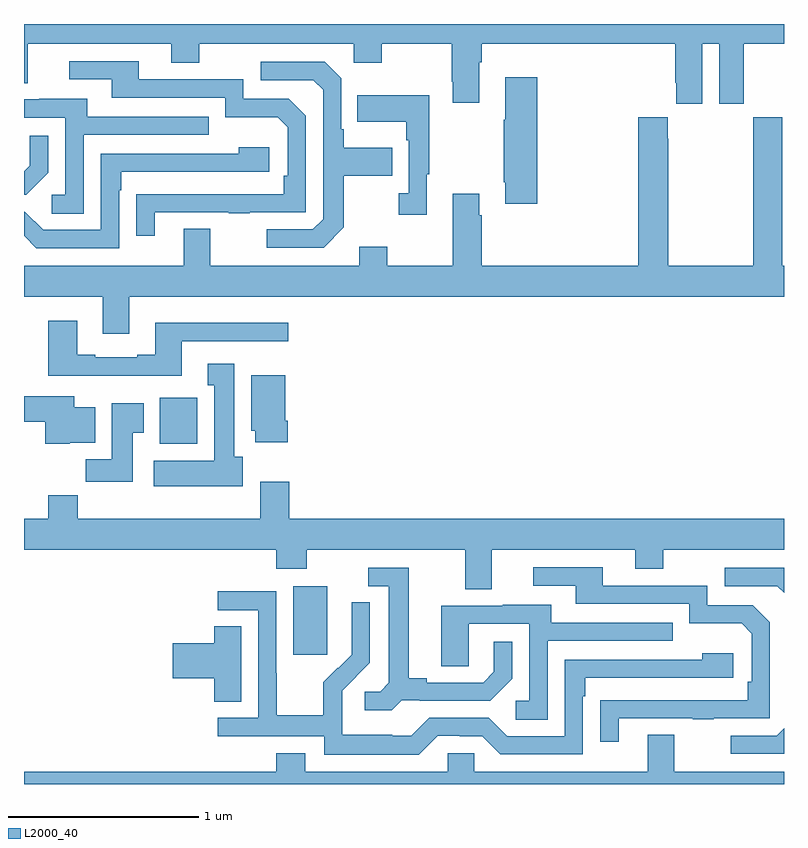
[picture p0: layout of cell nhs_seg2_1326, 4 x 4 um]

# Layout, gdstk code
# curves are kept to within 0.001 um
import gdstk
lib = gdstk.Library(unit=1e-6, precision=1e-09)
def R(c, l, rs):  # rectangles x0, y0, x1, y1
    for r in rs: c.add(gdstk.rectangle(r[:2], r[2:], *l))
def P(c, l, *ps):  # polygons
    for p in ps: c.add(gdstk.Polygon(p, *l))
L2000_40 = (2000, 40)

nhs_seg2_1326 = lib.new_cell('nhs_seg2_1326')
R(nhs_seg2_1326, L2000_40, [(182.417,584.481,182.596,584.842), (181.715,585.59,181.912,585.832)])
P(nhs_seg2_1326, L2000_40, [(184.57,587.696),(184.658,587.696),(184.658,587.379),(184.789,587.379),(184.789,587.696),(185,587.696),(185,587.8),(181,587.8),(181,587.488),(181.021,587.488),(181.021,587.696),(181.775,587.696),(181.775,587.597),(181.923,587.597),(181.923,587.696),(182.736,587.696),(182.736,587.597),(182.883,587.597),(182.883,587.696),(183.25,587.696),(183.25,587.497),(183.257,587.497),(183.257,587.385),(183.397,587.385),(183.397,587.6),(183.41,587.6),(183.41,587.696),(184.427,587.696),(184.427,587.491),(184.433,587.491),(184.433,587.379),(184.57,587.379)],
  [(181.687,586.809),(182.077,586.809),(182.077,586.804),(182.189,586.804),(182.189,586.809),(182.484,586.809),(182.484,587.316),(182.394,587.406),(182.154,587.406),(182.154,587.508),(181.603,587.508),(181.603,587.604),(181.239,587.604),(181.239,587.508),(181.463,587.508),(181.463,587.412),(182.058,587.412),(182.058,587.309),(182.335,587.309),(182.388,587.256),(182.388,587.002),(182.368,587.002),(182.368,586.905),(181.591,586.904),(181.591,586.686),(181.687,586.686)],
  [(182.683,586.729),(182.683,587.002),(182.939,587.002),(182.939,587.149),(182.683,587.149),(182.683,587.245),(182.67,587.245),(182.67,587.514),(182.583,587.601),(182.247,587.601),(182.247,587.505),(182.523,587.505),(182.574,587.454),(182.574,586.773),(182.52,586.719),(182.277,586.719),(182.277,586.623),(182.577,586.623)],
  [(183.701,587.521),(183.533,587.521),(183.533,587.297),(183.526,587.297),(183.526,586.966),(183.533,586.966),(183.533,586.854),(183.701,586.854)],
  [(183.121,587.009),(183.133,587.009),(183.133,587.425),(182.755,587.425),(182.755,587.285),(183.012,587.285),(183.012,587.189),(183.024,587.189),(183.024,586.91),(182.973,586.91),(182.973,586.797),(183.121,586.797)],
  [(181.314,587.217),(181.973,587.217),(181.973,587.313),(181.333,587.313),(181.333,587.407),(181.079,587.407),(181.079,587.403),(181,587.403),(181,587.307),(181.218,587.307),(181.218,586.902),(181.146,586.902),(181.146,586.801),(181.314,586.801)],
  [(181.555,586.364),(185,586.364),(185,586.528),(184.992,586.528),(184.992,587.308),(184.837,587.308),(184.837,586.528),(184.392,586.528),(184.392,587.195),(184.387,587.195),(184.387,587.308),(184.232,587.308),(184.232,586.528),(183.41,586.528),(183.41,586.793),(183.397,586.793),(183.397,586.906),(183.257,586.906),(183.257,586.528),(182.913,586.528),(182.913,586.627),(182.765,586.627),(182.765,586.528),(181.981,586.528),(181.981,586.723),(181.841,586.723),(181.841,586.528),(181,586.528),(181,586.364),(181.415,586.364),(181.415,586.17),(181.555,586.17)],
  [(181.128,587.018),(181.128,587.212),(181.031,587.212),(181.031,587.055),(181,587.024),(181,586.902),(181.012,586.902)],
  [(181.5,586.925),(181.513,586.925),(181.513,587.022),(182.29,587.022),(182.29,587.152),(182.129,587.152),(182.129,587.118),(181.404,587.118),(181.404,586.716),(181.101,586.716),(181.005,586.812),(181,586.812),(181,586.685),(181.065,586.62),(181.5,586.62)],
  [(181.831,586.131),(182.392,586.131),(182.392,586.228),(181.691,586.228),(181.691,586.06),(181.595,586.06),(181.595,586.047),(181.375,586.047),(181.375,586.06),(181.279,586.06),(181.279,586.237),(181.127,586.237),(181.127,585.95),(181.831,585.95)],
  [(182.152,585.522),(182.107,585.522),(182.107,586.012),(181.967,586.012),(181.967,585.899),(182,585.899),(182,585.502),(181.683,585.502),(181.683,585.368),(182.152,585.368)],
  [(182.387,585.712),(182.374,585.712),(182.374,585.952),(182.195,585.952),(182.195,585.66),(182.216,585.66),(182.216,585.6),(182.387,585.6)],
  [(181.242,585.596),(181.375,585.596),(181.375,585.784),(181.264,585.784),(181.264,585.841),(181,585.841),(181,585.707),(181.112,585.707),(181.112,585.59),(181.242,585.59)],
  [(181.573,585.649),(181.63,585.649),(181.63,585.805),(181.463,585.805),(181.463,585.508),(181.324,585.508),(181.324,585.39),(181.573,585.39)],
  [(182.396,585.391),(182.243,585.391),(182.243,585.196),(181.283,585.196),(181.283,585.32),(181.127,585.32),(181.127,585.196),(181,585.196),(181,585.032),(182.327,585.032),(182.327,584.933),(182.487,584.933),(182.487,585.032),(183.323,585.032),(183.323,584.824),(183.463,584.824),(183.463,585.032),(184.217,585.032),(184.217,584.933),(184.365,584.933),(184.365,585.032),(185,585.032),(185,585.196),(182.396,585.196)],
  [(184.129,584.145),(184.519,584.145),(184.519,584.14),(184.631,584.14),(184.631,584.145),(184.926,584.145),(184.926,584.652),(184.836,584.742),(184.596,584.742),(184.596,584.844),(184.045,584.844),(184.045,584.94),(183.681,584.94),(183.681,584.844),(183.905,584.844),(183.905,584.748),(184.5,584.748),(184.5,584.645),(184.777,584.645),(184.83,584.592),(184.83,584.338),(184.81,584.338),(184.81,584.241),(184.033,584.24),(184.033,584.022),(184.129,584.022)],
  [(182.988,584.241),(183.082,584.241),(183.082,584.238),(183.454,584.238),(183.57,584.354),(183.57,584.548),(183.473,584.548),(183.473,584.391),(183.416,584.334),(183.121,584.334),(183.121,584.357),(183.025,584.357),(183.025,584.937),(182.811,584.937),(182.811,584.841),(182.921,584.841),(182.921,584.333),(182.874,584.286),(182.793,584.286),(182.793,584.189),(182.936,584.189)],
  [(185,584.937),(184.689,584.937),(184.689,584.841),(184.965,584.841),(185,584.806)],
  [(183.177,584.055),(183.293,584.055),(183.293,584.052),(183.411,584.052),(183.507,583.956),(183.942,583.956),(183.942,584.261),(183.955,584.261),(183.955,584.358),(184.732,584.358),(184.732,584.488),(184.571,584.488),(184.571,584.454),(183.846,584.454),(183.846,584.052),(183.543,584.052),(183.447,584.148),(183.132,584.148),(183.039,584.055),(182.939,584.055),(182.939,584.059),(182.676,584.059),(182.676,584.193),(182.674,584.193),(182.674,584.29),(182.82,584.438),(182.82,584.756),(182.724,584.756),(182.724,584.602),(182.726,584.602),(182.726,584.48),(182.655,584.409),(182.652,584.412),(182.575,584.335),(182.575,584.161),(182.331,584.161),(182.331,584.384),(182.328,584.384),(182.328,584.814),(182.019,584.814),(182.019,584.715),(182.232,584.715),(182.232,584.148),(182.019,584.148),(182.019,584.052),(182.58,584.052),(182.58,583.955),(183.077,583.955)],
  [(183.756,584.553),(184.415,584.553),(184.415,584.649),(183.775,584.649),(183.775,584.743),(183.521,584.743),(183.521,584.739),(183.197,584.739),(183.197,584.419),(183.342,584.419),(183.342,584.643),(183.66,584.643),(183.66,584.238),(183.588,584.238),(183.588,584.137),(183.756,584.137)],
  [(182.143,584.63),(182,584.63),(182,584.54),(181.782,584.54),(181.782,584.357),(182,584.357),(182,584.233),(182.143,584.233)],
  [(185,584.093),(184.962,584.055),(184.719,584.055),(184.719,583.959),(185,583.959)],
  [(185,583.864),(184.423,583.864),(184.423,584.059),(184.283,584.059),(184.283,583.864),(183.369,583.864),(183.369,583.962),(183.231,583.962),(183.231,583.864),(182.479,583.864),(182.479,583.963),(182.327,583.963),(182.327,583.864),(181,583.864),(181,583.8),(185,583.8)])

lib.write_gds('nhs_seg2_1326.gds')
